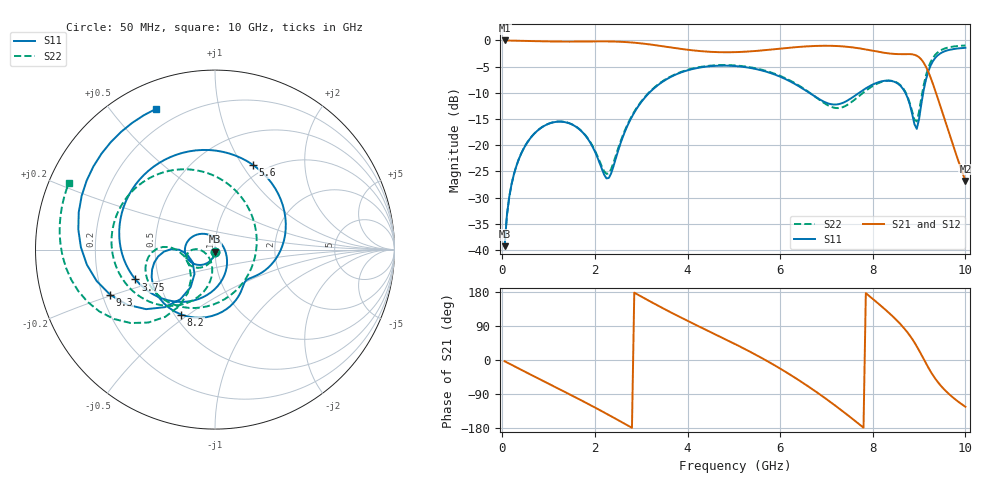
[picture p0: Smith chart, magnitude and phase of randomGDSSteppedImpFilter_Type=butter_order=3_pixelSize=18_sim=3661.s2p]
! freq	dB(S11)	phase(S11)	dB(S12)	phase(S12)
!  dB(S21)	phase(S21)	dB(S22)	phase(S22)
!S-par simulation data
#  GHz  S  DB  R 50
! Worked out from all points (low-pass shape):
!   200 points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, 50 MHz to 10 GHz, reference 50 ohm
!   highest |S21| = -0.01 dB at 50 MHz (marker M1); lowest = -26.8 dB at 10 GHz (marker M2)
!   |S21| within 3 dB of the highest: start of sweep to 8.965 GHz
!   lowest |S11| = -39.3 dB at 50 MHz (marker M3), VSWR 1.02, Z = 49.9 - j1.08 ohm
!   |S11| at or under -10 dB: start of sweep to 3.174 GHz; 6.628 GHz to 7.704 GHz (1.076 GHz wide, 15 % of centre); 8.704 GHz to 9.089 GHz (385.6 MHz wide, 4.33 % of centre)
!   |S22| runs from -39.3 to -1.0 dB; largest |S21 - S12| = 0
!   S11 on the Smith chart (normalised r, x): 50 MHz: 1.00, -0.02; 3.75 GHz: 0.37, -0.16; 5.6 GHz: 0.87, +1.12; 8.2 GHz: 0.54, -0.47; 9.3 GHz: 0.23, -0.20; 10 GHz: 0.12, +0.66
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0.05  -39.28 -92.5  -0.01 -3.2  -0.01 -3.2  -39.26 -91.8
0.2  -27.46 -103.8  -0.03 -12.7  -0.03 -12.7  -27.45 -101.1
0.55  -19.35 -128.9  -0.10 -34.7  -0.10 -34.7  -19.33 -121.2
1.75  -17.70 140.1  -0.21 -109.3  -0.21 -109.3  -17.64 -178.7
2.3  -26.26 21.2  -0.19 -145.1  -0.19 -145.1  -25.35 -132.7
2.85  -13.77 -86.1  -0.43 177.7  -0.43 177.7  -13.61 -101.4
3.4  -8.26 -133.2  -1.03 140.9  -1.03 140.9  -8.17 -126.6
3.75  -6.50 -159.4  -1.48 118.7  -1.48 118.7  -6.41 -144.3
4.35  -5.06 158.1  -2.09 82.5  -2.09 82.5  -4.96 -173.3
5.05  -4.91 108.3  -2.23 40.6  -2.23 40.6  -4.79 153.8
5.6  -5.72 65.9  -1.92 5.4  -1.92 5.4  -5.59 126.6
6.15  -7.53 20.2  -1.44 -33.7  -1.44 -33.7  -7.37 95.5
6.7  -10.42 -22.6  -1.08 -77.4  -1.08 -77.4  -10.38 53.5
7.1  -12.17 -42.4  -1.03 -112.2  -1.03 -112.2  -12.67 4.9
7.55  -10.94 -61.0  -1.32 -154.2  -1.32 -154.2  -11.71 -65.4
8.2  -7.79 -117.5  -2.29 140.6  -2.29 140.6  -7.89 -138.8
8.35  -7.68 -133.8  -2.48 124.3  -2.48 124.3  -7.68 -152.4
8.7  -9.93 -173.2  -2.61 80.4  -2.61 80.4  -9.76 179.3
8.95  -16.89 -150.2  -2.92 36.1  -2.92 36.1  -15.46 -147.4
9.3  -3.93 -156.7  -8.33 -40.2  -8.33 -40.2  -3.32 -145.5
9.6  -1.93 158.1  -16.40 -84.6  -16.40 -84.6  -1.41 -177.4
10  -1.41 112.7  -26.83 -123.6  -26.83 -123.6  -0.96 155.4
